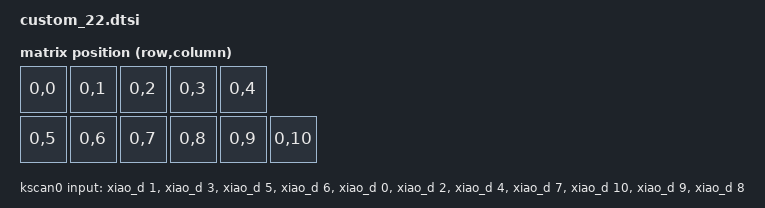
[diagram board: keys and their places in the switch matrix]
/*
 * Custom 22 keyboard shield — single half.
 * 11 direct GPIO keys on Seeeduino XIAO BLE.
 * Charging circuit on P0.13 (LOW = 100mA).
 *
 * Left/right differentiation is done via col-offset in the user config,
 * not in this shield definition.
 */

#include <dt-bindings/zmk/matrix_transform.h>

&gpio0 {
    charge_100ma: charge-100ma {
        gpio-hog;
        gpios = <13 GPIO_ACTIVE_HIGH>;
        output-low;
    };
};

/ {
    chosen {
        zmk,kscan = &kscan0;
        zmk,matrix_transform = &default_transform;
    };

    default_transform: keymap_transform_0 {
        compatible = "zmk,matrix-transform";
        columns = <11>;
        rows = <1>;
        map = <
            RC(0,0) RC(0,1) RC(0,2) RC(0,3) RC(0,4)
            RC(0,5) RC(0,6) RC(0,7) RC(0,8) RC(0,9) RC(0,10)
        >;
    };

    kscan0: kscan {
        compatible = "zmk,kscan-gpio-direct";
        input-gpios
        = <&xiao_d 1 (GPIO_ACTIVE_LOW | GPIO_PULL_UP)>
        , <&xiao_d 3 (GPIO_ACTIVE_LOW | GPIO_PULL_UP)>
        , <&xiao_d 5 (GPIO_ACTIVE_LOW | GPIO_PULL_UP)>
        , <&xiao_d 6 (GPIO_ACTIVE_LOW | GPIO_PULL_UP)>
        , <&xiao_d 0 (GPIO_ACTIVE_LOW | GPIO_PULL_UP)>
        , <&xiao_d 2 (GPIO_ACTIVE_LOW | GPIO_PULL_UP)>
        , <&xiao_d 4 (GPIO_ACTIVE_LOW | GPIO_PULL_UP)>
        , <&xiao_d 7 (GPIO_ACTIVE_LOW | GPIO_PULL_UP)>
        , <&xiao_d 10 (GPIO_ACTIVE_LOW | GPIO_PULL_UP)>
        , <&xiao_d 9 (GPIO_ACTIVE_LOW | GPIO_PULL_UP)>
        , <&xiao_d 8 (GPIO_ACTIVE_LOW | GPIO_PULL_UP)>
        ;
        wakeup-source;
    };
};
